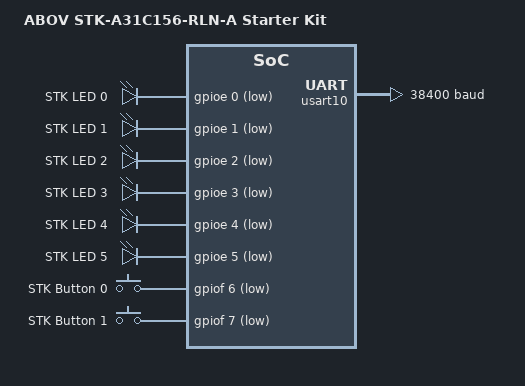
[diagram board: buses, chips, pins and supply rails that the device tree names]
/*
 * Copyright (c) 2026 ABOV Semiconductor Co., Ltd.
 * SPDX-License-Identifier: BSD-3-Clause
 */

/dts-v1/;

#include <abov/a31xxxx/a31c15x/abov_a31c15x.dtsi>
#include "stk_a31c156_rln_a-pinctrl.dtsi"
#include <zephyr/dt-bindings/gpio/gpio.h>

/ {
	model = "ABOV STK-A31C156-RLN-A Starter Kit";
	compatible = "abov,stk-a31c156-rln-a";

	chosen {
		zephyr,sram = &sram0;
		zephyr,flash = &flash0;
		zephyr,console = &usart10;
		zephyr,shell-uart = &usart10;
	};

	leds {
		compatible = "gpio-leds";
		led0: led_0 {
			gpios = <&gpioe 0 GPIO_ACTIVE_LOW>;
			label = "STK LED 0";
		};
		led1: led_1 {
			gpios = <&gpioe 1 GPIO_ACTIVE_LOW>;
			label = "STK LED 1";
		};
		led2: led_2 {
			gpios = <&gpioe 2 GPIO_ACTIVE_LOW>;
			label = "STK LED 2";
		};
		led3: led_3 {
			gpios = <&gpioe 3 GPIO_ACTIVE_LOW>;
			label = "STK LED 3";
		};
		led4: led_4 {
			gpios = <&gpioe 4 GPIO_ACTIVE_LOW>;
			label = "STK LED 4";
		};
		led5: led_5 {
			gpios = <&gpioe 5 GPIO_ACTIVE_LOW>;
			label = "STK LED 5";
		};
	};

	buttons {
		compatible = "gpio-keys";
		button0: button_0 {
			gpios = <&gpiof 6 (GPIO_PULL_UP | GPIO_ACTIVE_LOW)>;
			label = "STK Button 0";
		};
		button1: button_1 {
			gpios = <&gpiof 7 (GPIO_PULL_UP | GPIO_ACTIVE_LOW)>;
			label = "STK Button 1";
		};
	};

	aliases {
		led0 = &led0;
		led1 = &led1;
		led2 = &led2;
		led3 = &led3;
		led4 = &led4;
		led5 = &led5;
		sw0 = &button0;
		sw1 = &button1;
	};
};

&usart10 {
	status = "okay";
	current-speed = <38400>;
	pinctrl-0 = <&usart10_default>;
	pinctrl-names = "default";
};

/* TODO: re-enable once the I2C driver/binding for ABOV32 exists. */
/*
 * &i2c0 {
 *	status = "okay";
 *	pinctrl-0 = <&i2c0_default>;
 *	pinctrl-names = "default";
 * };
 */
